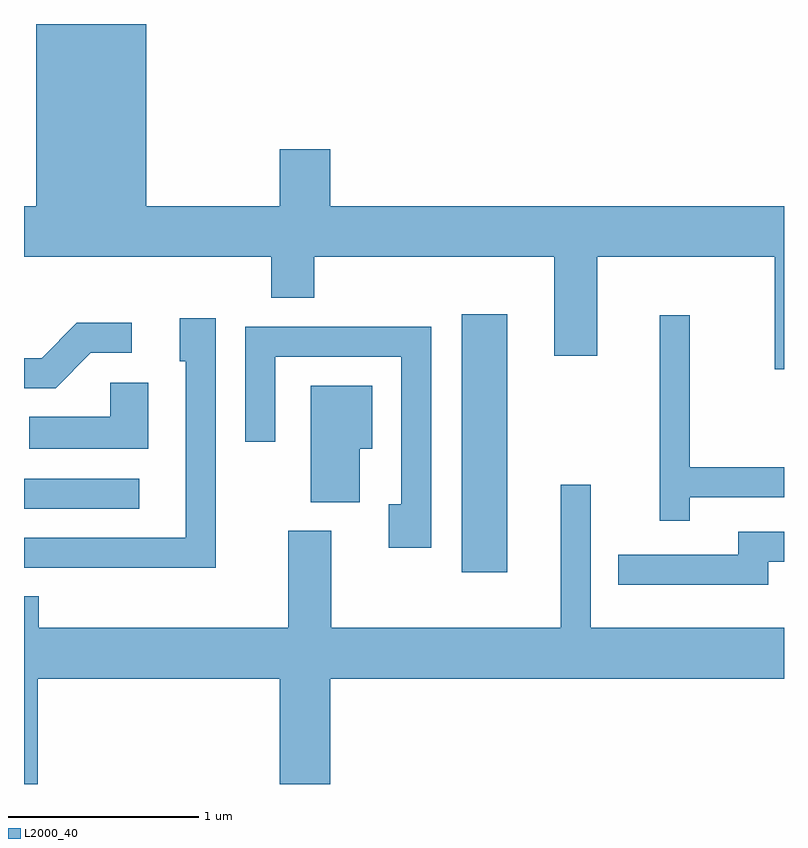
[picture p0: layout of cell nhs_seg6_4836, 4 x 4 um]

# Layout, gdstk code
import gdstk
lib = gdstk.Library(unit=1e-6, precision=1e-09)
def R(c, l, rs):  # rectangles x0, y0, x1, y1
    for r in rs: c.add(gdstk.rectangle(r[:2], r[2:], *l))
def P(c, l, *ps):  # polygons
    for p in ps: c.add(gdstk.Polygon(p, *l))
L2000_40 = (2000, 40)

nhs_seg6_4836 = lib.new_cell('nhs_seg6_4836')
R(nhs_seg6_4836, L2000_40, [(335.916,1537.276,336.154,1538.634), (333.611,1537.611,334.218,1537.769)])
P(nhs_seg6_4836, L2000_40, [(337.611,1539.204),(335.224,1539.204),(335.224,1539.504),(334.956,1539.504),(334.956,1539.204),(334.254,1539.204),(334.254,1540.162),(333.676,1540.162),(333.676,1539.204),(333.611,1539.204),(333.611,1538.936),(334.911,1538.936),(334.911,1538.721),(335.139,1538.721),(335.139,1538.936),(336.401,1538.936),(336.401,1538.416),(336.629,1538.416),(336.629,1538.936),(337.561,1538.936),(337.561,1538.346),(337.611,1538.346)],
  [(337.114,1537.671),(337.611,1537.671),(337.611,1537.829),(337.114,1537.829),(337.114,1538.628),(336.956,1538.628),(336.956,1537.548),(337.114,1537.548)],
  [(334.619,1538.614),(334.431,1538.614),(334.431,1538.386),(334.461,1538.386),(334.461,1537.459),(333.611,1537.459),(333.611,1537.301),(334.619,1537.301)],
  [(333.962,1538.431),(334.178,1538.431),(334.178,1538.589),(333.889,1538.589),(333.704,1538.404),(333.611,1538.404),(333.611,1538.246),(333.777,1538.246)],
  [(335.754,1538.569),(334.776,1538.569),(334.776,1537.963),(334.934,1537.963),(334.934,1538.411),(335.596,1538.411),(335.596,1537.634),(335.531,1537.634),(335.531,1537.406),(335.754,1537.406)],
  [(334.264,1538.274),(334.066,1538.274),(334.066,1538.094),(333.638,1538.094),(333.638,1537.926),(334.264,1537.926)],
  [(335.379,1537.926),(335.444,1537.926),(335.444,1538.259),(335.121,1538.259),(335.121,1537.646),(335.379,1537.646)],
  [(333.684,1536.716),(334.956,1536.716),(334.956,1536.162),(335.224,1536.162),(335.224,1536.716),(337.611,1536.716),(337.611,1536.984),(336.594,1536.984),(336.594,1537.738),(336.436,1537.738),(336.436,1536.984),(335.229,1536.984),(335.229,1537.494),(335.001,1537.494),(335.001,1536.984),(333.689,1536.984),(333.689,1537.149),(333.611,1537.149),(333.611,1536.162),(333.684,1536.162)],
  [(337.529,1537.331),(337.611,1537.331),(337.611,1537.489),(337.371,1537.489),(337.371,1537.369),(336.738,1537.369),(336.738,1537.211),(337.529,1537.211)])

lib.write_gds('nhs_seg6_4836.gds')
